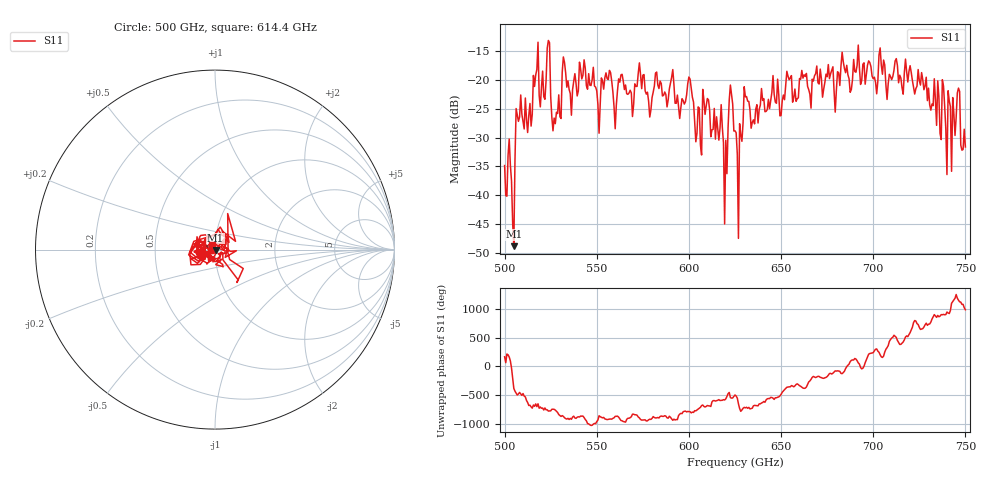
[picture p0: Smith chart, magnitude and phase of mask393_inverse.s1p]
!Created with skrf (http://scikit-rf.org).
# GHz S MA R 50.0
!freq magS11 angS11
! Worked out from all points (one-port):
!   401 points, 500 GHz to 750 GHz, reference 50 ohm
!   lowest |S11| = -48.9 dB at 505 GHz (marker M1), VSWR 1.01, Z = 50.3 - j0.133 ohm
!   |S11| at or under -10 dB: start of sweep to end of sweep
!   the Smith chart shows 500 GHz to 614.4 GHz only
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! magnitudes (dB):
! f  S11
! 500 GHz  -34.9
! 505 GHz  -48.9
! 507.5 GHz  -27.2
! 513.8 GHz  -24.1
! 516.9 GHz  -19.1
! 520.6 GHz  -18.5
! 523.8 GHz  -13.1
! 526.9 GHz  -26.6
! 531.2 GHz  -18.7
! 556.2 GHz  -19.9
! 560 GHz  -28.5
! 562.5 GHz  -20.4
! 593.8 GHz  -22.6
! 600.6 GHz  -19.9
! 605.6 GHz  -24.9
! 608.8 GHz  -26.0
! 619.4 GHz  -45.0
! 622.5 GHz  -20.9
! 625 GHz  -28.8
! 627.5 GHz  -27.6
! 631.2 GHz  -22.9
! 635 GHz  -26.9
! 656.2 GHz  -23.9
! 687.5 GHz  -22.1
! 718.8 GHz  -20.4
! 741.2 GHz  -23.7
! 745.6 GHz  -22.3
! 750 GHz  -31.6
